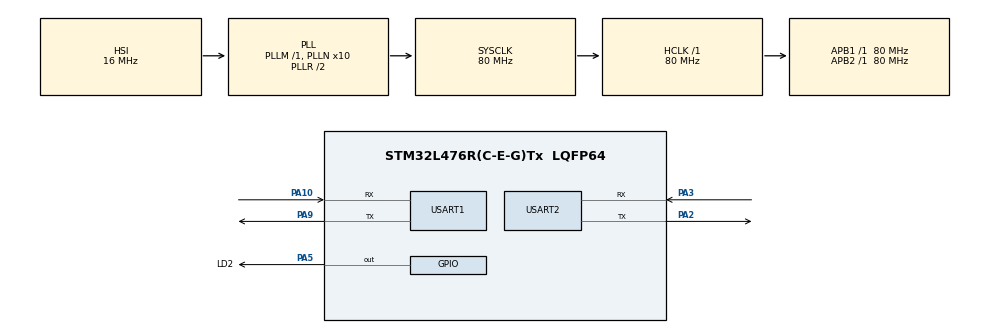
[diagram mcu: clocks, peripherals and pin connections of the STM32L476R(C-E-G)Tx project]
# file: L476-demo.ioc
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Dma.Request0=USART1_TX
Dma.Request1=USART1_RX
Dma.USART1_RX.1.Direction=DMA_PERIPH_TO_MEMORY
Dma.USART1_RX.1.Instance=DMA1_Channel5
Dma.USART1_RX.1.MemDataAlignment=DMA_MDATAALIGN_BYTE
Dma.USART1_RX.1.MemInc=DMA_MINC_ENABLE
Dma.USART1_RX.1.Mode=DMA_NORMAL
Dma.USART1_RX.1.PeriphDataAlignment=DMA_PDATAALIGN_BYTE
Dma.USART1_RX.1.PeriphInc=DMA_PINC_DISABLE
Dma.USART1_RX.1.Priority=DMA_PRIORITY_LOW
Dma.USART1_TX.0.Direction=DMA_MEMORY_TO_PERIPH
Dma.USART1_TX.0.Instance=DMA1_Channel4
Dma.USART1_TX.0.MemDataAlignment=DMA_MDATAALIGN_BYTE
Dma.USART1_TX.0.MemInc=DMA_MINC_ENABLE
Dma.USART1_TX.0.Mode=DMA_NORMAL
Dma.USART1_TX.0.PeriphDataAlignment=DMA_PDATAALIGN_BYTE
Dma.USART1_TX.0.PeriphInc=DMA_PINC_DISABLE
Dma.USART1_TX.0.Priority=DMA_PRIORITY_LOW
FREERTOS.Queues01=PayloadQueueRx,3,UartQueueData_t,0,Dynamic,NULL,NULL;PayloadQueueTx,3,UartQueueData_t,0,Dynamic,NULL,NULL
FREERTOS.Tasks01=Main,24,512,MainTask,Default,NULL,Dynamic,NULL,NULL;UartRx,24,512,UartRxTask,Default,NULL,Dynamic,NULL,NULL;UartTx,8,512,UartTxTask,Default,NULL,Dynamic,NULL,NULL
FREERTOS.configTOTAL_HEAP_SIZE=32767
FREERTOS.configUSE_NEWLIB_REENTRANT=1
Mcu.Family=STM32L4
Mcu.Name=STM32L476R(C-E-G)Tx
Mcu.Package=LQFP64
NVIC.DMA1_Channel4_IRQn=true\:5\:0\:false\:false\:true\:true\:false\:true\:true
NVIC.DMA1_Channel5_IRQn=true\:5\:0\:false\:false\:true\:true\:false\:true\:true
NVIC.PriorityGroup=NVIC_PRIORITYGROUP_4
NVIC.TIM6_DAC_IRQn=true\:15\:0\:false\:false\:true\:false\:false\:true\:true
NVIC.TimeBase=TIM6_DAC_IRQn
NVIC.TimeBaseIP=TIM6
NVIC.USART1_IRQn=true\:5\:0\:false\:false\:true\:true\:true\:true\:true
PA10.Mode=Asynchronous
PA10.Signal=USART1_RX
PA13\ (JTMS-SWDIO).GPIO_Label=TMS
PA13\ (JTMS-SWDIO).Mode=Serial_Wire
PA13\ (JTMS-SWDIO).Signal=SYS_JTMS-SWDIO
PA14\ (JTCK-SWCLK).GPIO_Label=TCK
PA14\ (JTCK-SWCLK).Mode=Serial_Wire
PA14\ (JTCK-SWCLK).Signal=SYS_JTCK-SWCLK
PA2.GPIO_Mode=GPIO_MODE_AF_PP
PA2.GPIO_PuPd=GPIO_NOPULL
PA2.GPIO_Speed=GPIO_SPEED_FREQ_VERY_HIGH
PA2.Mode=Asynchronous
PA2.Signal=USART2_TX
PA3.GPIO_Mode=GPIO_MODE_AF_PP
PA3.GPIO_PuPd=GPIO_NOPULL
PA3.GPIO_Speed=GPIO_SPEED_FREQ_VERY_HIGH
PA3.Mode=Asynchronous
PA3.Signal=USART2_RX
PA5.GPIO_Label=LD2
PA5.GPIO_ModeDefaultOutputPP=GPIO_MODE_OUTPUT_PP
PA5.GPIO_PuPd=GPIO_NOPULL
PA5.GPIO_Speed=GPIO_SPEED_FREQ_VERY_HIGH
PA5.Signal=GPIO_Output
PA9.Mode=Asynchronous
PA9.Signal=USART1_TX
PB3\ (JTDO-TRACESWO).GPIO_Label=SWO
PB3\ (JTDO-TRACESWO).Signal=SYS_JTDO-SWO
PC14-OSC32_IN\ (PC14).Mode=LSE-External-Oscillator
PC14-OSC32_IN\ (PC14).Signal=RCC_OSC32_IN
PC15-OSC32_OUT\ (PC15).Mode=LSE-External-Oscillator
PC15-OSC32_OUT\ (PC15).Signal=RCC_OSC32_OUT
PH0-OSC_IN\ (PH0).Signal=RCC_OSC_IN
PH1-OSC_OUT\ (PH1).Signal=RCC_OSC_OUT
ProjectManager.HeapSize=0x200
ProjectManager.StackSize=0x400
ProjectManager.TargetToolchain=STM32CubeIDE
RCC.ADCFreq_Value=64000000
RCC.AHBFreq_Value=80000000
RCC.APB1Freq_Value=80000000
RCC.APB1TimFreq_Value=80000000
RCC.APB2Freq_Value=80000000
RCC.APB2TimFreq_Value=80000000
RCC.CortexFreq_Value=80000000
RCC.HCLKFreq_Value=80000000
RCC.HSE_VALUE=8000000
RCC.HSI_VALUE=16000000
RCC.MSI_VALUE=4000000
RCC.PLLN=10
RCC.PLLSourceVirtual=RCC_PLLSOURCE_HSI
RCC.PREFETCH_ENABLE=1
RCC.SYSCLKFreq_VALUE=80000000
RCC.SYSCLKSource=RCC_SYSCLKSOURCE_PLLCLK
RCC.USBFreq_Value=64000000
RCC.VCOOutputFreq_Value=160000000
USART1.VirtualMode-Asynchronous=VM_ASYNC
USART2.VirtualMode-Asynchronous=VM_ASYNC
VP_FREERTOS_VS_CMSIS_V2.Mode=CMSIS_V2
VP_SYS_VS_tim6.Mode=TIM6
board=NUCLEO-L476RG

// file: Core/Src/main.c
/* USER CODE BEGIN Header */
/**
  ******************************************************************************
  * @file           : main.c
  * @brief          : Main program body
  ******************************************************************************
  * @attention
  *
  * Copyright (c) 2025 STMicroelectronics.
  * All rights reserved.
  *
  * This software is licensed under terms that can be found in the LICENSE file
  * in the root directory of this software component.
  * If no LICENSE file comes with this software, it is provided AS-IS.
  *
  ******************************************************************************
  */
/* USER CODE END Header */
#include "main.h"
#include "cmsis_os.h"

/* USER CODE BEGIN Includes */
#include "stdio.h"
#include <string.h>
#include <stdbool.h>
#include <stdlib.h>
#include <errno.h>
#include <stdint.h>
#include <stddef.h>
#include "FreeRTOS.h"
#include "queue.h"
#include "stream_buffer.h"
/* USER CODE END Includes */

/* USER CODE BEGIN PTD */
#define RESPONSE_PARAM_LEN_MAX  128

typedef struct {
  uint16_t len;
  uint8_t  data[QUEUE_MSG_SIZE];
} UartQueueData_t;

typedef struct {
    uint16_t name_len;
    uint16_t param_len;
    uint16_t total_len;
    uint8_t  type;
    uint8_t  idx;
    uint8_t  name[RESPONSE_PARAM_LEN_MAX];
    uint8_t  param[RESPONSE_PARAM_LEN_MAX];
} response_t;

typedef int (*func_ptr_t)(const uint8_t *input, uint16_t in_len, uint8_t *param, uint16_t *param_len);

typedef struct FuncEntry {
  func_ptr_t func;
  struct FuncEntry *next;
  const char *name;
} FuncEntry_t;

/* USER CODE END PTD */

/* USER CODE BEGIN PD */

/* Buffer sizes */
#define USER_PAYLOAD_SIZE_MAX       (512)   /* max size of user frame over UART in KBytes */
#define UART_DMA_BUFFER_SIZE        (2 * USER_PAYLOAD_SIZE_MAX)
#define STREAM_BUFFER_SIZE          (USER_PAYLOAD_SIZE_MAX)
#define STREAM_TRIGGER_LEVEL        1
#define MSGQUEUE_OBJECTS            3

/* USER CODE END PD */

UART_HandleTypeDef huart1;
UART_HandleTypeDef huart2;
DMA_HandleTypeDef hdma_usart1_tx;
DMA_HandleTypeDef hdma_usart1_rx;

/* Definitions for Main */
osThreadId_t MainHandle;
const osThreadAttr_t Main_attributes = {
  .name = "Main",
  .stack_size = 512 * 4,
  .priority = (osPriority_t) osPriorityNormal,
};
/* Definitions for UartRx */
osThreadId_t UartRxHandle;
const osThreadAttr_t UartRx_attributes = {
  .name = "UartRx",
  .stack_size = 512 * 4,
  .priority = (osPriority_t) osPriorityNormal,
};
/* Definitions for UartTx */
osThreadId_t UartTxHandle;
const osThreadAttr_t UartTx_attributes = {
  .name = "UartTx",
  .stack_size = 512 * 4,
  .priority = (osPriority_t) osPriorityLow,
};
/* Definitions for PayloadQueueRx */
osMessageQueueId_t PayloadQueueRxHandle;
const osMessageQueueAttr_t PayloadQueueRx_attributes = {
  .name = "PayloadQueueRx"
};
/* Definitions for PayloadQueueTx */
osMessageQueueId_t PayloadQueueTxHandle;
const osMessageQueueAttr_t PayloadQueueTx_attributes = {
  .name = "PayloadQueueTx"
};
/* USER CODE BEGIN PV */

uint8_t uart1_dma_buffer_rx[UART_DMA_BUFFER_SIZE];
uint8_t uart1_dma_buffer_tx[UART_DMA_BUFFER_SIZE];
uint8_t uart_task_buf_rx[USER_PAYLOAD_SIZE_MAX];
uint8_t uart_task_buf_tx[USER_PAYLOAD_SIZE_MAX];

StreamBufferHandle_t UartRxStream;
static FuncEntry_t *g_funcs_head = NULL;
uint16_t leftover_len = 0;
uint8_t  leftover[2*USER_PAYLOAD_SIZE_MAX];
uint8_t  assembled_buf[2*USER_PAYLOAD_SIZE_MAX];

/* USER CODE END PV */

void SystemClock_Config(void);
static void MX_GPIO_Init(void);
static void MX_DMA_Init(void);
static void MX_USART1_UART_Init(void);
static void MX_USART2_UART_Init(void);
void MainTask(void *argument);
void UartRxTask(void *argument);
void UartTxTask(void *argument);

/* USER CODE BEGIN PFP */
int UART1_Send(uint8_t *buf, uint16_t len);
void HAL_UARTEx_RxEventCallback(UART_HandleTypeDef *huart, uint16_t Size);
static void register_func(const char *name, func_ptr_t f);
static void UnpackUartFrame(uint8_t *buf, uint16_t len);
static int UnpackPayload(uint8_t *buf, uint16_t len, response_t *resp);
static int UnpackQueryMsg(uint8_t *buf, uint16_t len, response_t *resp);
static int my_str(const uint8_t *input, uint16_t in_len, uint8_t *param, uint16_t *param_len);
static int my_power(const uint8_t *input, uint16_t in_len, uint8_t *param, uint16_t *param_len);
static int my_sum(const uint8_t *input, uint16_t in_len, uint8_t *param, uint16_t *param_len);
static int MakeAppPayload(uint8_t* buf, response_t *msg, uint16_t *total_len);
static uint8_t crc8(const uint8_t *data, size_t len);

/* USER CODE END PFP */

/* USER CODE BEGIN 0 */

/* CRC-8/ATM: poly 0x07, init 0x00, refin=1, refout=1, xorout=0 */
__attribute__((unused))
uint8_t crc8(const uint8_t *data, size_t len)
{
    uint8_t crc = 0x00; // initial value

    for (size_t i = 0; i < len; i++) {
        crc ^= data[i];
        for (uint8_t bit = 0; bit < 8; bit++) {
            if (crc & 0x01) {
                crc = (crc >> 1) ^ 0x8C; // 0x8C is 0x07 reflected
            } else {
                crc >>= 1;
            }
        }
    }
    return crc;
}

int __io_putchar(int ch)
{
  HAL_UART_Transmit(&huart2, (uint8_t*) &ch, 1, HAL_MAX_DELAY);
  return ch;
}

int _write(int file, char *ptr, int len) {
  (void)file;
  HAL_UART_Transmit(&huart2, (uint8_t*)ptr, (uint16_t)len, HAL_MAX_DELAY);
  return len;
}

__attribute__((unused))
static void print_in_hex(const uint8_t *buf, size_t len)
{
  if (buf == NULL || len == 0)
    return;

// newline every 16 bytes
#define LINE_MAX_SYMBOLS_PRINTED        16

  for (size_t i = 0; i < len; i++) {
      printf("%02X ", buf[i]);
      if ((i + 1) % LINE_MAX_SYMBOLS_PRINTED == 0) {
          printf("\r\n");
      }
  }
  if (len % LINE_MAX_SYMBOLS_PRINTED != 0) {
      printf("\r\n");
  }
}

__attribute__((unused))
static void register_func(const char *name, func_ptr_t f)
{
  FuncEntry_t *node = (FuncEntry_t *)pvPortMalloc(sizeof(FuncEntry_t));
  if (!node) {
    printf("[register_func] ERROR: OOM %s\r\n", name);
    return;
  }
  node->name = name;
  node->func = f;
  node->next = g_funcs_head;
  g_funcs_head = node;
}

/* input: 2 x uint8_t bytes; out: 2 bytes LE = sum of input */
__attribute__((unused))
static int my_sum(const uint8_t *input, uint16_t in_len, uint8_t *param, uint16_t *param_len)
{
  uint16_t rez;

  if ((input == NULL) || (in_len < 2) || (param == NULL) || (param_len == 0)) {
    printf("[my_sum] ERROR: input param\r\n");
    return -1;
  }

  rez = (uint16_t)input[0] + (uint16_t)input[1];
  printf("\r\n[my_sum] arg[0]=%d (0x%x), arg[0]=%d (0x%x), rez=%d (0x%x)\r\n",
         input[0], input[0], input[1], input[1], rez, rez);

  /* Output uint16_t */
  param[0] = (uint8_t)(rez & 0xFF);
  param[1] = (uint8_t)(rez >> 8);
  *param_len = 2; // length of parameters in response message in bytes
  return 0;
}

/* input: 2 x uint8_t bytes;; out: 2 bytes LE = v*v (16-bit) */
__attribute__((unused))
static int my_power(const uint8_t *input, uint16_t in_len, uint8_t *param, uint16_t *param_len)
{
  uint16_t rez;

  if ((input == NULL) || (in_len < 2) || (param == NULL) || (param_len == 0)) {
    printf("[my_power] ERROR: input param\r\n");
    return -1;
  }

  rez = (uint16_t)(input[0]) * (uint16_t)(input[1]);
  printf("\r\n[my_power] arg[0]=%d (0x%x), arg[0]=%d (0x%x), rez=%d (0x%x)\r\n",
         input[0], input[0], input[1], input[1], rez, rez);

  /* Output uint16_t */
  param[0] = (uint8_t)(rez & 0xFF);
  param[1] = (uint8_t)(rez >> 8);
  *param_len = 2;
  return 0;
}

/* input: bytes; out: 2 bytes LE = strlen(input-as-bytes) */
__attribute__((unused))
static int my_str(const uint8_t *input, uint16_t in_len, uint8_t *param, uint16_t *param_len)
{
  (void)input;

  if ((input == NULL) || (in_len == 0) || (param == NULL) || (param_len == 0)) {
    printf("[my_str] ERROR: input param\r\n");
    return -1;
  }

  uint16_t rez = strlen((char*)input);
  /* Output uint16_t */
  param[0] = (uint8_t)(rez & 0xFF);
  param[1] = (uint8_t)(rez >> 8);
  *param_len = 2;
  return 0;
}

__attribute__((unused))
static void UnpackUartFrame(uint8_t *buf, uint16_t len)
{
  uint16_t idx = 0;
  uint16_t frame_len;
  uint8_t  calc_crc;
  uint16_t remain;
  uint8_t *hdr; // current header
  UartQueueData_t pm;

  if (buf == NULL) {
    return;
  }

  while (idx < len) {
    if (buf[idx] != FRAME_START_BYTE) {
      idx++;
      continue;
    }

    // FRAME_START_BYTE found, validating the rest
    if ((idx + FRAME_HEADER_CRC_OFFSET) > len)
      break; /* drop it if we don't get 3-bytes header */

    hdr = &buf[idx]; // current starting point

    // If header CRC is wrong, look for another start
    calc_crc = crc8(hdr, FRAME_HEADER_CRC_OFFSET);
    if (calc_crc != hdr[FRAME_HEADER_CRC_OFFSET]) {
      printf("\r\n[UnpackUartFrame] header CRC mismatch @%u (got 0x%02X exp 0x%02X)\r\n",
             idx, hdr[FRAME_HEADER_CRC_OFFSET], calc_crc);
      idx++;
      continue;
    }

    // Check if complete frame received
    frame_len = (uint16_t)(hdr[FRAME_HEADER_LSB_IDX] | ((uint16_t)hdr[FRAME_HEADER_MSB_IDX] << 8));

    if ((idx + frame_len) > len) {
      /* incomplete frame received */
      printf("\r\n[UnpackUartFrame] Invalid fame: got %u bytes, but expecting %u bytes\r\n", len, frame_len);

      /* Incomplete packet -> stash leftover from i..end */
      remain = (uint16_t)(len - idx);
      if (remain <= sizeof(leftover)) {
        memcpy(leftover, &buf[idx], remain);
        leftover_len = remain;
      } else {
        leftover_len = 0;
      }
      return; /* wait for next buffer to complete */
    }

    // We have a complete frame in the buffer
    // Check FRAME_PAYLOAD_START
    if (hdr[FRAME_PAYLOAD_OFFSET-1] != FRAME_PAYLOAD_START) {
      printf("\r\n[UnpackUartFrame] Invalid fame: missing payload-start 0x%02x\r\n", hdr[FRAME_PAYLOAD_OFFSET-1]);
      idx++;
      continue;
    }

    // Check FRAME_STOP_BYTE
    if (hdr[frame_len - 1] != FRAME_STOP_BYTE) {
      printf("\r\n[UnpackUartFrame] Invalid fame: missing frame stop byte 0x%02x\r\n", hdr[frame_len - 1]);
      idx++;
      continue;
    }

    /* CRC of the frame (except 2 last bytes) */
    calc_crc = crc8(hdr, (uint32_t)(frame_len - FRAME_TAIL_SIZE));
    if (calc_crc != hdr[frame_len - FRAME_TAIL_SIZE]) {
      printf("\r\n[UnpackUartFrame] header CRC mismatch @%u (got 0x%02X exp 0x%02X)\r\n",
             idx, hdr[frame_len - FRAME_TAIL_SIZE], calc_crc);
      idx++;
      continue;
    }

    pm.len = frame_len - FRAME_PAYLOAD_OFFSET - FRAME_TAIL_SIZE;
    memcpy(pm.data, &hdr[FRAME_PAYLOAD_OFFSET], pm.len);

    printf("\r\n[UnpackUartFrame] UART frame_len=%u, payload len=%u\r\n", frame_len, pm.len);
    print_in_hex(pm.data, pm.len);

    if (osMessageQueuePut(PayloadQueueRxHandle, &pm, 0U, 0U) != osOK) {
      printf("\r\n[UnpackUartFrame] PayloadQueueRxHandle full, drop\r\n");
    }

    idx += (uint16_t)frame_len; /* check next packet in the same buffer (if any) */
  }

  if (idx < len) {
    remain = (uint16_t)(len - idx);
    if (remain <= sizeof(leftover)) {
      memcpy(leftover, &buf[idx], remain);
      leftover_len = remain;
    } else {
      leftover_len = 0;
    }
  } else {
    leftover_len = 0;
  }
  return;
}

/**
 * @brief Unpack and call func
 * @param buf - input buffer
 * @param len - length of input buffer
 * @param resp - empty response structure to fill in
 * @retval 0 - if OK
 */
__attribute__((unused))
int UnpackQueryMsg(uint8_t *buf, uint16_t len, response_t *resp)
{
  uint8_t *ptr  = &buf[PROTO_MSG_NAME_OFFSET];
  uint16_t name_len = strlen((char*)ptr); // shortcut, no err handling
  uint16_t param_offset = name_len + 1;
  func_ptr_t func_p = NULL;
  FuncEntry_t *fe = NULL;
  int rez = 0;

  // update resp struct
  resp->type = PROTO_MSG_TYPE_ERROR;
  resp->idx = buf[1];
  memcpy(resp->name, ptr, name_len);
  resp->name_len = name_len;

  for (fe = g_funcs_head; fe != NULL; fe = fe->next) {
    if (strcmp((char*)fe->name, (char*)ptr) == 0) {
      func_p = fe->func;
      break;
    }
  }

  if (func_p == NULL) {
    printf("\r\n[UnpackQueryMsg] not found: %s\r\n", ptr);
    return -1;
  }

  rez = func_p(&ptr[param_offset], (len - param_offset), resp->param, &resp->param_len);
  if (rez) {
    printf("\r\n[UnpackQueryMsg] called func (%s) FAILED (%d)\r\n", fe->name, rez);
    return -2;
  } else {
    resp->type = PROTO_MSG_TYPE_RESPONSE;
  }

  return 0;
}

/**
 * @brief Unpack payload message and call function with parameters
 * @param buf - input buffer with payload structure
 * @param len - length of input buffer
 * @param resp - empty response structure to fill in
 * @retval 0 - if OK
 */
int UnpackPayload(uint8_t *buf, uint16_t len, response_t *resp)
{
  uint8_t *ptr = buf;
  int rez = 0;

  /* At least first 2 bytes */
  if (len < 2) {
    printf("\r\n[UnpackPayload] msg too short: %u\r\n", len);
    return -1;
  }

  if (*ptr == PROTO_MSG_TYPE_QUERY) {
    rez = UnpackQueryMsg(buf, len, resp);
    if (rez != 0) {
      printf("\r\n[UnpackPayload] UnpackQueryMessage() failed with (%d)\r\n", rez);
    }
    return rez;
  } else if (*ptr == PROTO_MSG_TYPE_STREAM) {
    printf("\r\n[UnpackPayload] Not supported: PROTO_MSG_TYPE_STREAM\r\n");
    return -2;
  } else if (*ptr == PROTO_MSG_TYPE_RESPONSE) {
    printf("\r\n[UnpackPayload] Not supported: PROTO_MSG_TYPE_RESPONSE\r\n");
    return -3;
  } else if (*ptr == PROTO_MSG_TYPE_ERROR) {
    printf("\r\n[UnpackPayload] Not supported: PROTO_MSG_TYPE_ERROR\r\n");
    return -4;
  } else {
    printf("\r\n[UnpackPayload] Unknown message type (0x%02x)\r\n", *ptr);
    return -5;
  }
}

/**
 * @brief Create response message
 * @param resp - input data
 * @param total_len - output length
 * @retval txbuf - allocated buf with payload
 */
__attribute__((unused))
int MakeAppPayload(uint8_t *txbuf, response_t *resp, uint16_t *total_len)
{
  // add terminator (NULL)
  *total_len = PROTO_MSG_NAME_OFFSET + resp->name_len + resp->param_len + 1;
  if (*total_len > USER_PAYLOAD_SIZE_MAX) {
    printf("\r\n[MakeAppPayload] ERROR: total_len=%u\r\n", *total_len);
    (*total_len) = 0;
    return -1;
  }

  txbuf[0] = resp->type;
  txbuf[1] = resp->idx;    // idx from received message
  memcpy(&txbuf[PROTO_MSG_NAME_OFFSET], resp->name, resp->name_len);
  txbuf[PROTO_MSG_NAME_OFFSET + resp->name_len] = 0x00;
  if (resp->param_len) {
    memcpy(&txbuf[PROTO_MSG_NAME_OFFSET + resp->name_len + 1], resp->param, resp->param_len);
  }
  return 0;
}

/* USER CODE END 0 */

int main(void)
{

  /* MCU Configuration--------------------------------------------------------*/

  /* Reset of all peripherals, Initializes the Flash interface and the Systick. */
  HAL_Init();

  /* Configure the system clock */
  SystemClock_Config();

  /* Initialize all configured peripherals */
  MX_GPIO_Init();
  MX_DMA_Init();
  MX_USART1_UART_Init();
  MX_USART2_UART_Init();

  /* Init scheduler */
  osKernelInitialize();

  /* Create the queue(s) */
  /* creation of PayloadQueueRx */
  PayloadQueueRxHandle = osMessageQueueNew (3, sizeof(UartQueueData_t), &PayloadQueueRx_attributes);

  /* creation of PayloadQueueTx */
  PayloadQueueTxHandle = osMessageQueueNew (3, sizeof(UartQueueData_t), &PayloadQueueTx_attributes);

  /* USER CODE BEGIN RTOS_QUEUES */
  /* add queues, ... */
  UartRxStream = xStreamBufferCreate(STREAM_BUFFER_SIZE, STREAM_TRIGGER_LEVEL);
  if (UartRxStream == NULL) {
    printf("\r\n[main] ERROR: xStreamBufferCreate\r\n");
  }

  /* USER CODE END RTOS_QUEUES */

  /* Create the thread(s) */
  /* creation of Main */
  MainHandle = osThreadNew(MainTask, NULL, &Main_attributes);

  /* creation of UartRx */
  UartRxHandle = osThreadNew(UartRxTask, NULL, &UartRx_attributes);

  /* creation of UartTx */
  UartTxHandle = osThreadNew(UartTxTask, NULL, &UartTx_attributes);

  /* Start scheduler */
  osKernelStart();

  /* We should never get here as control is now taken by the scheduler */

  /* Infinite loop */
  while (1)
  {

  }
}

void SystemClock_Config(void)
{
  RCC_OscInitTypeDef RCC_OscInitStruct = {0};
  RCC_ClkInitTypeDef RCC_ClkInitStruct = {0};

  /** Configure the main internal regulator output voltage
  */
  if (HAL_PWREx_ControlVoltageScaling(PWR_REGULATOR_VOLTAGE_SCALE1) != HAL_OK)
  {
    Error_Handler();
  }

  /** Initializes the RCC Oscillators according to the specified parameters
  * in the RCC_OscInitTypeDef structure.
  */
  RCC_OscInitStruct.OscillatorType = RCC_OSCILLATORTYPE_HSI;
  RCC_OscInitStruct.HSIState = RCC_HSI_ON;
  RCC_OscInitStruct.HSICalibrationValue = RCC_HSICALIBRATION_DEFAULT;
  RCC_OscInitStruct.PLL.PLLState = RCC_PLL_ON;
  RCC_OscInitStruct.PLL.PLLSource = RCC_PLLSOURCE_HSI;
  RCC_OscInitStruct.PLL.PLLM = 1;
  RCC_OscInitStruct.PLL.PLLN = 10;
  RCC_OscInitStruct.PLL.PLLP = RCC_PLLP_DIV7;
  RCC_OscInitStruct.PLL.PLLQ = RCC_PLLQ_DIV2;
  RCC_OscInitStruct.PLL.PLLR = RCC_PLLR_DIV2;
  if (HAL_RCC_OscConfig(&RCC_OscInitStruct) != HAL_OK)
  {
    Error_Handler();
  }

  /** Initializes the CPU, AHB and APB buses clocks
  */
  RCC_ClkInitStruct.ClockType = RCC_CLOCKTYPE_HCLK|RCC_CLOCKTYPE_SYSCLK
                              |RCC_CLOCKTYPE_PCLK1|RCC_CLOCKTYPE_PCLK2;
  RCC_ClkInitStruct.SYSCLKSource = RCC_SYSCLKSOURCE_PLLCLK;
  RCC_ClkInitStruct.AHBCLKDivider = RCC_SYSCLK_DIV1;
  RCC_ClkInitStruct.APB1CLKDivider = RCC_HCLK_DIV1;
  RCC_ClkInitStruct.APB2CLKDivider = RCC_HCLK_DIV1;

  if (HAL_RCC_ClockConfig(&RCC_ClkInitStruct, FLASH_LATENCY_4) != HAL_OK)
  {
    Error_Handler();
  }
}

static void MX_USART1_UART_Init(void)
{

  huart1.Instance = USART1;
  huart1.Init.BaudRate = 115200;
  huart1.Init.WordLength = UART_WORDLENGTH_8B;
  huart1.Init.StopBits = UART_STOPBITS_1;
  huart1.Init.Parity = UART_PARITY_NONE;
  huart1.Init.Mode = UART_MODE_TX_RX;
  huart1.Init.HwFlowCtl = UART_HWCONTROL_NONE;
  huart1.Init.OverSampling = UART_OVERSAMPLING_16;
  huart1.Init.OneBitSampling = UART_ONE_BIT_SAMPLE_DISABLE;
  huart1.AdvancedInit.AdvFeatureInit = UART_ADVFEATURE_NO_INIT;
  if (HAL_UART_Init(&huart1) != HAL_OK)
  {
    Error_Handler();
  }

}

static void MX_USART2_UART_Init(void)
{

  huart2.Instance = USART2;
  huart2.Init.BaudRate = 115200;
  huart2.Init.WordLength = UART_WORDLENGTH_8B;
  huart2.Init.StopBits = UART_STOPBITS_1;
  huart2.Init.Parity = UART_PARITY_NONE;
  huart2.Init.Mode = UART_MODE_TX_RX;
  huart2.Init.HwFlowCtl = UART_HWCONTROL_NONE;
  huart2.Init.OverSampling = UART_OVERSAMPLING_16;
  huart2.Init.OneBitSampling = UART_ONE_BIT_SAMPLE_DISABLE;
  huart2.AdvancedInit.AdvFeatureInit = UART_ADVFEATURE_NO_INIT;
  if (HAL_UART_Init(&huart2) != HAL_OK)
  {
    Error_Handler();
  }

}

static void MX_DMA_Init(void)
{

  /* DMA controller clock enable */
  __HAL_RCC_DMA1_CLK_ENABLE();

  /* DMA interrupt init */
  /* DMA1_Channel4_IRQn interrupt configuration */
  HAL_NVIC_SetPriority(DMA1_Channel4_IRQn, 5, 0);
  HAL_NVIC_EnableIRQ(DMA1_Channel4_IRQn);
  /* DMA1_Channel5_IRQn interrupt configuration */
  HAL_NVIC_SetPriority(DMA1_Channel5_IRQn, 5, 0);
  HAL_NVIC_EnableIRQ(DMA1_Channel5_IRQn);

}

static void MX_GPIO_Init(void)
{
  GPIO_InitTypeDef GPIO_InitStruct = {0};

  /* GPIO Ports Clock Enable */
  __HAL_RCC_GPIOC_CLK_ENABLE();
  __HAL_RCC_GPIOH_CLK_ENABLE();
  __HAL_RCC_GPIOA_CLK_ENABLE();
  __HAL_RCC_GPIOB_CLK_ENABLE();

  /*Configure GPIO pin Output Level */
  HAL_GPIO_WritePin(LD2_GPIO_Port, LD2_Pin, GPIO_PIN_RESET);

  /*Configure GPIO pin : LD2_Pin */
  GPIO_InitStruct.Pin = LD2_Pin;
  GPIO_InitStruct.Mode = GPIO_MODE_OUTPUT_PP;
  GPIO_InitStruct.Pull = GPIO_NOPULL;
  GPIO_InitStruct.Speed = GPIO_SPEED_FREQ_VERY_HIGH;
  HAL_GPIO_Init(LD2_GPIO_Port, &GPIO_InitStruct);

}

/* USER CODE BEGIN 4 */
void HAL_UARTEx_RxEventCallback(UART_HandleTypeDef *huart, uint16_t received_sz)
{
  BaseType_t hptw = pdFALSE;
  size_t bytes_sent = 0;

  if (huart->Instance == USART1)  {
    /* Push received bytes into the stream buffer */
    bytes_sent = xStreamBufferSendFromISR(UartRxStream, uart1_dma_buffer_rx, received_sz, &hptw);
    if (bytes_sent != received_sz) {
      // TODO add error count
    }

    /* Restart DMA reception */
    HAL_UARTEx_ReceiveToIdle_DMA(&huart1, uart1_dma_buffer_rx, UART_DMA_BUFFER_SIZE);
    __HAL_DMA_DISABLE_IT(&hdma_usart1_rx, DMA_IT_HT);

    if (hptw == pdTRUE) {
      portYIELD_FROM_ISR(hptw);
    }
  }
}

int UART1_Send(uint8_t *buf, uint16_t len)
{
  if (buf == NULL || len == 0) {
    printf("\r\nUART1_Send(): HAL_UART_Transmit_DMA() input par ERROR len=%u\r\n", len);
    return -1;
  }

  /* Check if UART1 TX is ready for new transfer */
  if (huart1.gState != HAL_UART_STATE_READY) {
    // TODO add timeout to check ready again (avoid returning fault)
    printf("\r\nUART1_Send(): Tx is NOT ready\r\n");
    return -2; /* Previous transfer is not finished */
  }

  if (HAL_UART_Transmit_DMA(&huart1, buf, len) != HAL_OK) {
    printf("\r\nUART1_Send(): HAL_UART_Transmit_DMA() failed\r\n");
    return -3;
  }
  return 0;
}

/**
  * @brief  Tx Transfer completed callback
  * @param  huart: UART handle.
  * @note   reports end of DMA Tx transfer
  * @retval None
  */
void HAL_UART_TxCpltCallback(UART_HandleTypeDef *huart)
{
  if (huart->Instance == USART1) {
    /* Set transmission flag: transfer complete */
    // TODO notify a task
  }
  return;
}

/**
  * @brief  UART error callbacks
  * @param  UartHandle: UART handle
  * @note   This example shows a simple way to report transfer error, and you can
  *         add your own implementation.
  * @retval None
  */
void HAL_UART_ErrorCallback(UART_HandleTypeDef *UartHandle)
{
  char buf[32];
  uint32_t error = HAL_UART_GetError(UartHandle);

  switch(error) {
    case HAL_UART_ERROR_PE:
      strcpy(buf, "Parity Error");
      break;
    case HAL_UART_ERROR_NE:
      strcpy(buf, "Noise Error");
      break;
    case HAL_UART_ERROR_FE:
      strcpy(buf, "Frame Error");
      break;
    case HAL_UART_ERROR_ORE:
      strcpy(buf, "Overrun Error");
      break;
    case HAL_UART_ERROR_DMA:
      strcpy(buf, "DMA Transfer Error");
      break;
    case HAL_UART_ERROR_RTO:
      strcpy(buf, "Receiver Timeout Error");
      break;
    default:
      strcpy(buf, "Unknown Error");
      itoa(error, &buf[16], 10);
  }
  printf("HAL_UART_ErrorCallback(): %s\r\n", buf);
  Error_Handler();
}

/* USER CODE END 4 */

void MainTask(void *argument)
{
  /* USER CODE BEGIN 5 */
  UartQueueData_t pm;
  int rez = 0;
  response_t resp;

  printf("\r\n[MainTask] Started\r\n");

  /* Register functions (3 examples) */
  register_func("sum2x", my_sum);
  register_func("power2", my_power);
  register_func("strlen", my_str);

  for (;;) {
    if (osMessageQueueGet(PayloadQueueRxHandle, &pm, NULL, osWaitForever) == osOK) {
      memset(&resp, 0, sizeof(resp));
      /* Unpacking client messages and executing function (if query) */
      rez = UnpackPayload(pm.data, pm.len, &resp);
      if (rez == 0) {
        printf("\r\n[MainTask] UnpackPayload(): OK\r\n");
      } else {
        printf("\r\n[MainTask] UnpackPayload: 0x%0x\r\n", rez);
      }

      pm.len = 0;
      //  Make Response Message
      if (MakeAppPayload(pm.data, &resp, &pm.len)) {
        pm.len = 0;
        continue;
      }

      // send it to Tx task
      if (osMessageQueuePut(PayloadQueueTxHandle, &pm, 0U, 0U) != osOK) {
        printf("\r\n[MainTask]  PayloadQueueTxHandle full, drop\r\n");
        pm.len = 0;
      } else {
      }
    }
  }

  /* USER CODE END 5 */
}

void UartRxTask(void *argument)
{
  /* USER CODE BEGIN UartRxTask */
    size_t uart_buf_len = 0;
    uint32_t total;

    HAL_GPIO_WritePin(LD2_GPIO_Port, LD2_Pin, GPIO_PIN_SET);

    // get DMA receive going
    HAL_UARTEx_ReceiveToIdle_DMA(&huart1, uart1_dma_buffer_rx, UART_DMA_BUFFER_SIZE);
    __HAL_DMA_DISABLE_IT(&hdma_usart1_rx, DMA_IT_HT);

    osDelay(50);
    printf("\r\n[UartRx] Started\r\n");

    for(;;) {
      /* read data from stream buffer */
      uart_buf_len = xStreamBufferReceive(UartRxStream, uart_task_buf_rx, USER_PAYLOAD_SIZE_MAX, portMAX_DELAY);
      if (uart_buf_len <= 0) {
        continue;
      }
      // debug indication
      HAL_GPIO_TogglePin(LD2_GPIO_Port, LD2_Pin);

      printf("\r\n[UartRx] ISR buf received len=%u\r\n", uart_buf_len);
      print_in_hex(uart_task_buf_rx, uart_buf_len);

      /* was any part received in previous frame? */
      if (leftover_len) {
        total = leftover_len + uart_buf_len;

        if (total > USER_PAYLOAD_SIZE_MAX) {
          /* if too big, drop */
          leftover_len = 0;
          continue;
        }

        memcpy(assembled_buf, leftover, leftover_len);
        memcpy((uint8_t*)assembled_buf + leftover_len, uart_task_buf_rx, uart_buf_len);
        UnpackUartFrame(assembled_buf, (uint16_t)total);
      } else {
        UnpackUartFrame(uart_task_buf_rx, uart_buf_len);
      }
    }
  /* USER CODE END UartRxTask */
}

void UartTxTask(void *argument)
{
  /* USER CODE BEGIN UartTxTask */
  UartQueueData_t tx;
  uint16_t pkt_sz;
  uint8_t *pkt = NULL;

  (void) argument;

  osDelay(20);
  printf("\r\n[UartTx] Started\r\n");

  for (;;) {
    if (osMessageQueueGet(PayloadQueueTxHandle, &tx, NULL, osWaitForever) == osOK) {
      if (tx.len == 0) {
        printf("\r\n[UartTx]: ERROR zero length Msg from PayloadQueueTxHandle\r\n");
        continue;
      }

      /*** Pack UART frame ***/
      /* Header size + start data byte + payload len + checksum + end byte */
      pkt_sz = FRAME_PAYLOAD_OFFSET + tx.len + FRAME_TAIL_SIZE;
      pkt = uart_task_buf_tx;

      /* Header */
      pkt[0] = FRAME_START_BYTE;
      // length of the whole UART frame
      pkt[FRAME_HEADER_LSB_IDX] = (uint8_t) (pkt_sz & 0xFF);
      pkt[FRAME_HEADER_MSB_IDX] = (uint8_t) (pkt_sz >> 8);
      pkt[FRAME_HEADER_CRC_OFFSET] = crc8(pkt, FRAME_HEADER_CRC_OFFSET);
      pkt[FRAME_HEADER_SBD_OFFSET] = FRAME_PAYLOAD_START;

      // payload
      memcpy(&pkt[FRAME_PAYLOAD_OFFSET], tx.data, tx.len);

      /* Packet CRC over header+marker+payload */
      pkt[FRAME_PAYLOAD_OFFSET + tx.len] = crc8(pkt, (uint32_t) (FRAME_PAYLOAD_OFFSET + tx.len));
      pkt[FRAME_PAYLOAD_OFFSET + tx.len + 1] = FRAME_STOP_BYTE;

      printf("\r\n[UartTx]: UART Frame prepared len=%u\r\n", pkt_sz);
      print_in_hex(pkt, pkt_sz);

      if (UART1_Send(pkt, pkt_sz)) {
        // TODO implement resend
        printf("\r\n[UartTx]: UART1_Send() failed\r\n");
      } else {
        printf("\r\n[UartTx]: UART1_Send() OK\r\n");
      }
      tx.len = 0;
    }
  }

  /* USER CODE END UartTxTask */
}

void HAL_TIM_PeriodElapsedCallback(TIM_HandleTypeDef *htim)
{
  if (htim->Instance == TIM6)
  {
    HAL_IncTick();
  }
}

void Error_Handler(void)
{
  __disable_irq();
  while (1)
  {
  }
}
